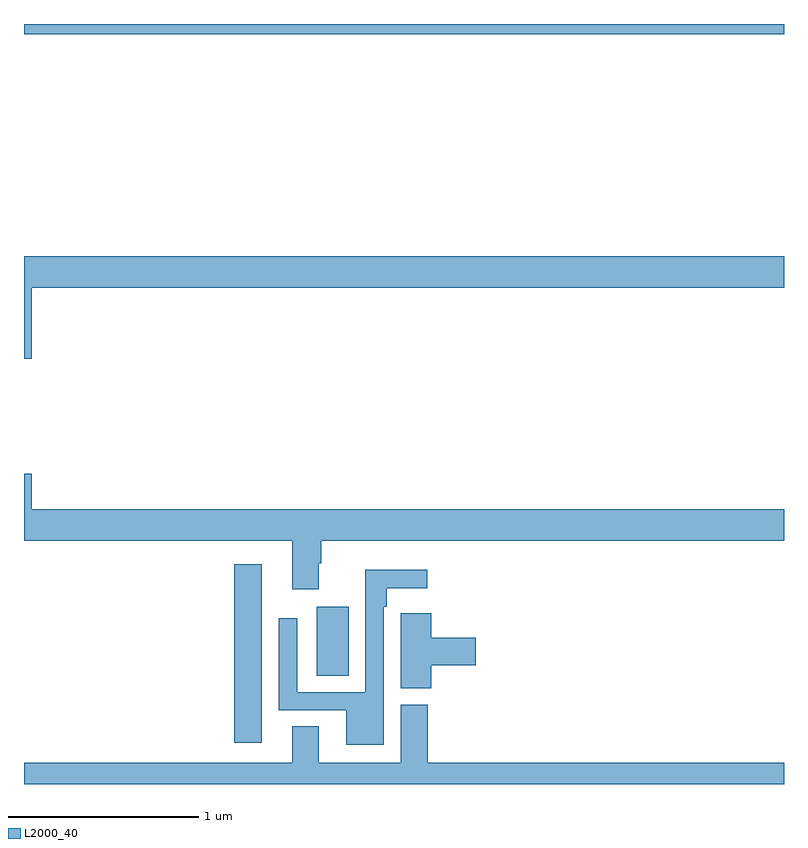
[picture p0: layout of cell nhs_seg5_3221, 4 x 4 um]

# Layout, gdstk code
import gdstk
lib = gdstk.Library(unit=1e-6, precision=1e-09)
def R(c, l, rs):  # rectangles x0, y0, x1, y1
    for r in rs: c.add(gdstk.rectangle(r[:2], r[2:], *l))
def P(c, l, *ps):  # polygons
    for p in ps: c.add(gdstk.Polygon(p, *l))
L2000_40 = (2000, 40)

nhs_seg5_3221 = lib.new_cell('nhs_seg5_3221')
R(nhs_seg5_3221, L2000_40, [(298.106,869.016,298.252,869.956), (298.541,869.368,298.708,869.731), (297,872.744,301,872.799)])
P(nhs_seg5_3221, L2000_40, [(297.04,871.412),(301,871.412),(301,871.576),(297,871.576),(297,871.038),(297.04,871.038)],
  [(298.552,869.96),(298.565,869.96),(298.565,870.08),(301,870.08),(301,870.244),(297.04,870.244),(297.04,870.433),(297,870.433),(297,870.08),(298.412,870.08),(298.412,869.823),(298.552,869.823)],
  [(298.893,869.732),(298.909,869.732),(298.909,869.828),(299.122,869.828),(299.122,869.926),(298.797,869.926),(298.797,869.283),(298.437,869.283),(298.437,869.671),(298.341,869.671),(298.341,869.187),(298.697,869.187),(298.697,869.006),(298.893,869.006)],
  [(299.144,869.423),(299.377,869.423),(299.377,869.57),(299.144,869.57),(299.144,869.698),(298.983,869.698),(298.983,869.585),(298.982,869.585),(298.982,869.302),(299.144,869.302)],
  [(301,868.912),(299.126,868.912),(299.126,869.217),(298.982,869.217),(298.982,868.912),(298.552,868.912),(298.552,869.102),(298.412,869.102),(298.412,868.912),(297,868.912),(297,868.799),(301,868.799)])

lib.write_gds('nhs_seg5_3221.gds')
